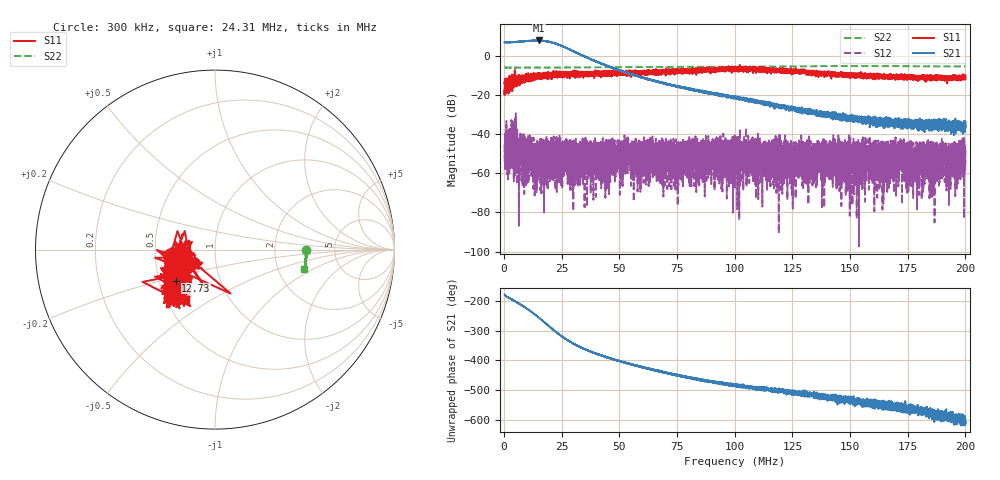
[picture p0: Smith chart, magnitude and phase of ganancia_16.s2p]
# Hz S DB R 50
! CMT, M5065, 19127446, 24.2.4/2
! Date: 11/8/2024 4:57:34 PM
! Data: Format (Calibration Info)
! Freq	S11:dB/Ang(F2)	S21:dB/Ang(F2)	S12:dB/Ang(F2)	S22:dB/Ang(F2)
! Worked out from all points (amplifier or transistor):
!   9000 points, 300 kHz to 200 MHz, reference 50 ohm
!   highest |S21| = 8.0 dB at 15.06 MHz (marker M1)
!   |S21| within 3 dB of that: start of sweep to 25.37 MHz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
!   unconditionally stable (mu >= 1): start of sweep to end of sweep
!   at 33.59 MHz: K = 50.84, MAG = 2.4 dB, |S12| = -44.4 dB
!   at 100.2 MHz: K = 3753.69, MAG = -18.8 dB, |S12| = -61.2 dB
!   at 200 MHz: K = 12141.05, MAG = -33.6 dB, |S12| = -55.9 dB
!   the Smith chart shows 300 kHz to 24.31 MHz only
!   S11 on the Smith chart (normalised r, x): 300 kHz: 0.79, -0.11; 12.73 MHz: 0.61, -0.23; 24.31 MHz: 0.63, -0.39
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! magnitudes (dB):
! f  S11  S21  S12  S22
! 300 kHz  -17.7  7.1  -45.5  -5.9
! 3.673 MHz  -12.0  7.2  -49.6  -5.9
! 6.159 MHz  -11.0  7.3  -46.7  -5.9
! 12.73 MHz  -11.1  7.9  -44.1  -5.9
! 15.06 MHz  -8.9  8.0  -56.1  -5.9
! 24.31 MHz  -9.9  5.6  -46.3  -5.8
! 26.37 MHz  -10.0  4.5  -47.9  -5.8
! 30.95 MHz  -9.7  2.0  -46.3  -5.8
! 33.59 MHz  -9.4  0.5  -44.4  -5.7
! 66.87 MHz  -8.7  -13.2  -53.2  -5.5
! 100.2 MHz  -6.7  -21.4  -61.2  -5.4
! 118.1 MHz  -7.7  -25.1  -70.0  -5.3
! 125.7 MHz  -7.6  -26.4  -44.1  -5.2
! 128.9 MHz  -7.7  -28.2  -50.4  -5.2
! 133.4 MHz  -8.9  -29.0  -50.5  -5.1
! 166.7 MHz  -9.7  -33.6  -61.4  -5.1
! 181.7 MHz  -10.9  -33.8  -45.3  -5.2
! 186.4 MHz  -11.0  -37.2  -52.2  -5.2
! 190 MHz  -11.3  -35.1  -48.9  -5.2
! 195.9 MHz  -10.9  -35.6  -60.6  -5.3
! 199 MHz  -10.8  -35.8  -55.0  -5.3
! 200 MHz  -11.8  -35.4  -55.9  -5.3
